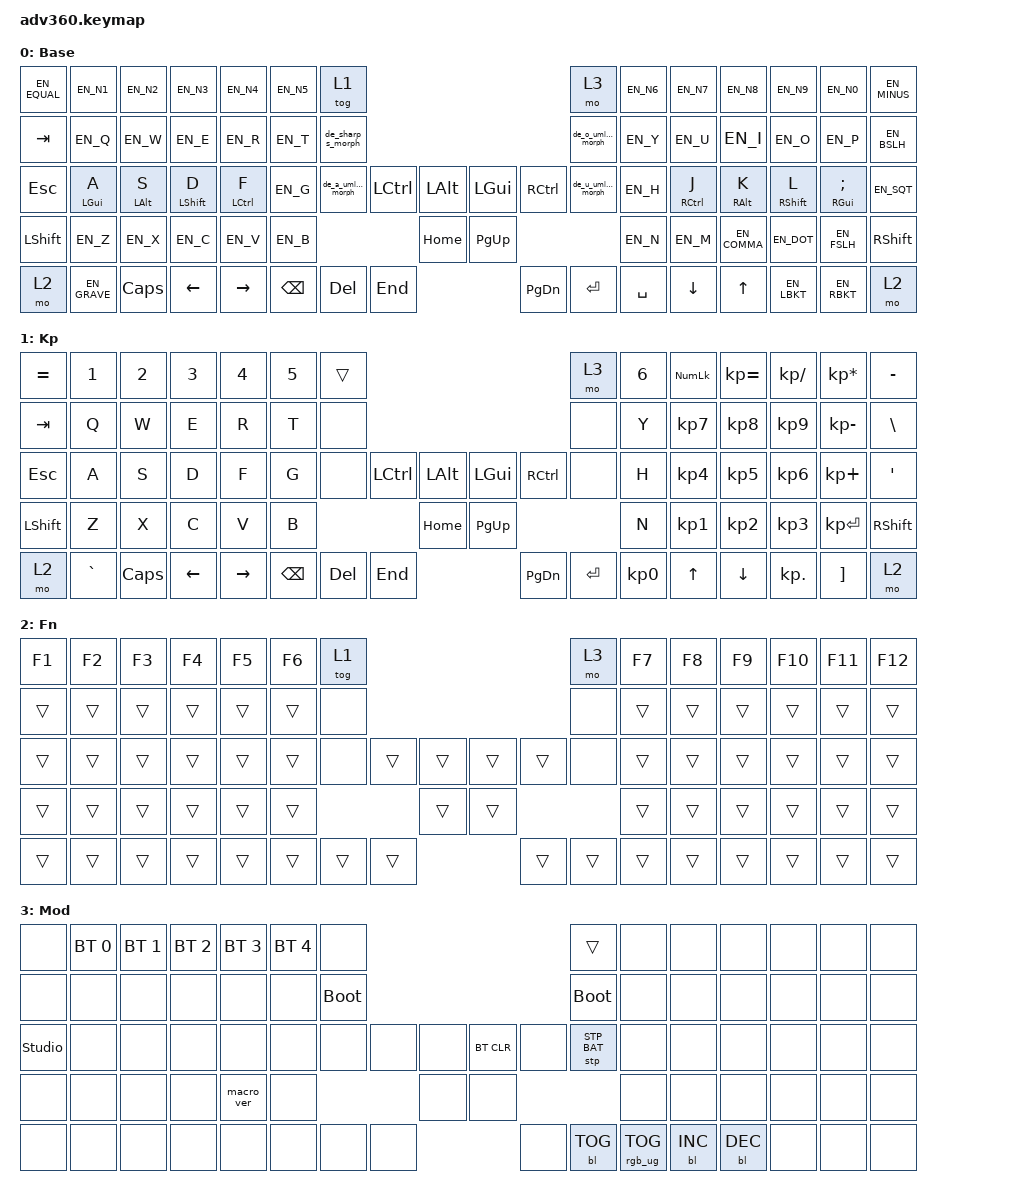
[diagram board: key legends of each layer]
#include <behaviors.dtsi>
#include <dt-bindings/zmk/keys.h>
#include <dt-bindings/zmk/bt.h>
#include <dt-bindings/zmk/rgb.h>
#include <dt-bindings/zmk/stp.h>
#include <dt-bindings/zmk/backlight.h>
#include <dt-bindings/zmk/pointing.h>
#include <dt-bindings/zmk/hid_usage.h>
#include <dt-bindings/zmk/modifiers.h>
#include "keys_de.h"
#include "keys_us_international.h"

/ {
    behaviors {
      #include "macros.dtsi"
      #include "version.dtsi"
     /**/
      /* hm: homerow_mods { */
      /*     compatible = "zmk,behavior-hold-tap"; */
      /*     label = "HOMEROW_MODS"; */
      /*     #binding-cells = <2>; */
      /*     tapping-term-ms = <220>; */
      /*     quick_tap_ms = <100>; */
      /*     flavor = "tap-preferred"; */
      /*     bindings = <&kp>, <&kp>; */
      /* }; */
      /* mt: mt { */
      /*   compatible = "zmk,behavior-hold-tap"; */
      /*   label = "HOMEROW_MODS"; */
      /*   #binding-cells = <2>; */
      /*   tapping-term-ms = <220>; */
      /*   quick_tap_ms = <100>; */
      /*   flavor = "tap-preferred"; */
      /*   bindings = <&kp>, <&kp>; */
        /* hold-while-undecicided; */
      /*   retro-tab; */
      /* }; */
      flavor = "tap-preferred";
      tapping-term-ms = <220>;
      quick_tap_ms = <100>;
      retro-tap;
      hold-while-undecided;
    };
    macros {
    };
  keymap {
    compatible = "zmk,keymap";

    default_layer {
      display-name = "Base";
      bindings = <
        &kp EN_EQUAL &kp EN_N1    &kp EN_N2   &kp EN_N3   &kp EN_N4     &kp EN_N5 &tog 1                                                           &mo 3 &kp EN_N6 &kp EN_N7 &kp EN_N8    &kp EN_N9   &kp EN_N0   &kp EN_MINUS
        &kp TAB   &kp EN_Q     &kp EN_W    &kp EN_E    &kp EN_R      &kp EN_T  &de_sharp_s_morph                                                            &de_o_umlaut_morph &kp EN_Y  &kp EN_U  &kp EN_I     &kp EN_O    &kp EN_P    &kp EN_BSLH
        &kp ESC   &mt LGUI A    &mt LALT S    &mt LSHIFT D    &mt LCTRL F      &kp EN_G  &de_a_umlaut_morph            &kp LCTRL &kp LALT &kp LGUI  &kp RCTRL           &de_u_umlaut_morph &kp EN_H  &mt RCTRL J  &mt RALT K  &mt RSHIFT L &mt RGUI SEMI &kp EN_SQT
        &kp LSHFT &kp EN_Z     &kp EN_X    &kp EN_C    &kp EN_V      &kp EN_B                            &kp HOME &kp PG_UP                           &kp EN_N  &kp EN_M  &kp EN_COMMA &kp EN_DOT  &kp EN_FSLH &kp RSHFT
        &mo 2     &kp EN_GRAVE &kp CAPS &kp LEFT &kp RIGHT                &kp BSPC &kp DEL   &kp END  &kp PG_DN &kp ENTER &kp SPACE              &kp DOWN &kp UP  &kp EN_LBKT &kp EN_RBKT &mo 2
      >;
    };
    keypad {
      display-name = "Kp";
      bindings = <
        &kp EQUAL &kp N1    &kp N2   &kp N3   &kp N4     &kp N5 &trans                                                           &mo 3 &kp N6 &kp KP_NUM &kp KP_EQUAL &kp KP_DIVIDE &kp KP_MULTIPLY &kp MINUS
        &kp TAB   &kp Q     &kp W    &kp E    &kp R      &kp T  &none                                                            &none &kp Y  &kp KP_N7  &kp KP_N8    &kp KP_N9     &kp KP_MINUS    &kp BSLH
        &kp ESC   &kp A     &kp S    &kp D    &kp F      &kp G  &none           &kp LCTRL &kp LALT &kp LGUI  &kp RCTRL           &none &kp H  &kp KP_N4  &kp KP_N5    &kp KP_N6     &kp KP_PLUS     &kp SQT
        &kp LSHFT &kp Z     &kp X    &kp C    &kp V      &kp B                            &kp HOME &kp PG_UP                           &kp N  &kp KP_N1  &kp KP_N2    &kp KP_N3     &kp KP_ENTER    &kp RSHFT
        &mo 2     &kp GRAVE &kp CAPS &kp LEFT &kp RIGHT                &kp BSPC &kp DEL   &kp END  &kp PG_DN &kp ENTER &kp KP_N0              &kp UP     &kp DOWN     &kp KP_DOT    &kp RBKT        &mo 2
      >;
    };
    fn {
      display-name = "Fn";
      bindings = <
        &kp F1 &kp F2 &kp F3 &kp F4 &kp F5 &kp F6 &tog 1                                           &mo 3 &kp F7 &kp F8 &kp F9 &kp F10 &kp F11 &kp F12
        &trans &trans &trans &trans &trans &trans  &none                                           &none &trans &trans &trans &trans  &trans  &trans
        &trans &trans &trans &trans &trans &trans  &none        &trans &trans &trans &trans        &none &trans &trans &trans &trans  &trans  &trans
        &trans &trans &trans &trans &trans &trans                      &trans &trans                     &trans &trans &trans &trans  &trans  &trans
        &trans &trans &trans &trans &trans               &trans &trans &trans &trans &trans &trans              &trans &trans &trans  &trans  &trans
      >;
    };
    mod {
      display-name = "Mod";
      bindings = <
        &none &bt BT_SEL 0 &bt BT_SEL 1 &bt BT_SEL 2 &bt BT_SEL 3 &bt BT_SEL 4 &none                                                                     &trans                 &none        &none        &none        &none &none &none
        &none &none        &none        &none        &none        &none        &bootloader                                                               &bootloader            &none        &none        &none        &none &none &none
        &studio_unlock &none        &none        &none        &none        &none        &none                   &none &none &bt BT_CLR &none                      &stp STP_BAT &none        &none        &none        &none &none &none
        &none &none        &none        &none        &macro_ver   &none                                      &none &none                                                        &none        &none        &none        &none &none &none
        &none &none        &none        &none        &none                                       &none &none &none &none      &bl BL_TOG &rgb_ug RGB_TOG                                     &bl BL_INC   &bl BL_DEC   &none &none &none
      >;
    };
    extra1 { 
      display-name = "Red";    
      status = "reserved";
    };

    extra2 { 
      display-name = "Purple";    
      status = "reserved";
    };

    extra3 { 
      display-name = "Cyan";    
      status = "reserved";
    };

    extra4 { 
      display-name = "Yellow";    
      status = "reserved";
    };
  };
};
